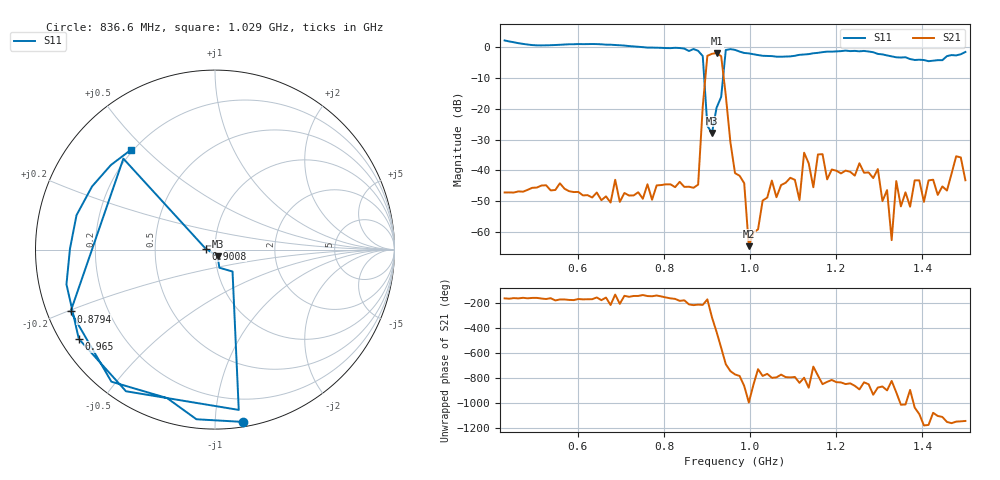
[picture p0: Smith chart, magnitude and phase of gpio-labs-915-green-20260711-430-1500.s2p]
# HZ S RI R 50
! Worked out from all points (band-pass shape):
!   101 points, 430 MHz to 1.5 GHz, reference 50 ohm
!   highest |S21| = -1.92 dB at 922.2 MHz (marker M1); lowest = -64.6 dB at 997.1 MHz (marker M2)
!   |S21| within 3 dB of the highest: 899.4 MHz to 934.6 MHz (35.19 MHz wide, 3.84 % of centre)
!   lowest |S11| = -27.9 dB at 911.5 MHz (marker M3), VSWR 1.08, Z = 51.3 - j3.88 ohm
!   |S11| at or under -10 dB: 893.5 MHz to 937.2 MHz (43.73 MHz wide, 4.78 % of centre)
!   S12 and S22 are empty: the file has one direction only
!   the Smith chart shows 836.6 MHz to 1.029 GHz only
!   S11 on the Smith chart (normalised r, x): 836.6 MHz: 0.03, -1.17; 879.4 MHz: 0.07, -0.20; 900.8 MHz: 0.90, +0.01; 965 MHz: 0.05, -0.30; 1.029 GHz: 0.19, +0.45
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4.3e8  1.287 -0.0803  -0.00421 -0.00119  0 0  0 0
5.049e8  -0.0202 -1.074  -0.00496 -0.00175  0 0  0 0
6.119e8  -1.028 0.4523  -0.00389 -0.000528  0 0  0 0
6.975e8  0.2981 1.036  -0.0027 0.00147  0 0  0 0
7.938e8  0.8621 -0.4622  -0.00494 -0.00298  0 0  0 0
8.366e8  0.1537 -0.9599  -0.00649 0.000501  0 0  0 0
8.794e8  -0.8043 -0.3447  -0.00484 0.00331  0 0  0 0
8.901e8  -0.5105 0.5068  -0.0872 0.0651  0 0  0 0
9.008e8  -0.0525 0.00568  -0.7189 -0.0925  0 0  0 0
9.115e8  0.0146 -0.0377  0.5671 0.5404  0 0  0 0
9.222e8  0.0243 -0.101  0.2323 -0.7675  0 0  0 0
9.329e8  0.0977 -0.1222  -0.6721 0.2512  0 0  0 0
9.436e8  0.1324 -0.8933  0.1463 0.0777  0 0  0 0
9.65e8  -0.7589 -0.4972  0.00527 -0.00733  0 0  0 0
9.864e8  -0.8081 0.00471  -0.00518 -0.00338  0 0  0 0
9.971e8  -0.7716 0.1916  9.05e-05 0.00058  0 0  0 0
1.0292e9  -0.4665 0.5573  0.0013 -0.00295  0 0  0 0
1.1469e9  0.7719 0.2049  0.00525 0.000785  0 0  0 0
1.2967e9  -0.4953 -0.6019  -0.00982 -0.00372  0 0  0 0
1.3288e9  -0.6649 -0.2515  -0.000205 -0.000707  0 0  0 0
1.3395e9  -0.673 -0.1355  -0.00638 0.00207  0 0  0 0
1.5e9  0.5745 0.6103  0.00267 -0.00637  0 0  0 0
